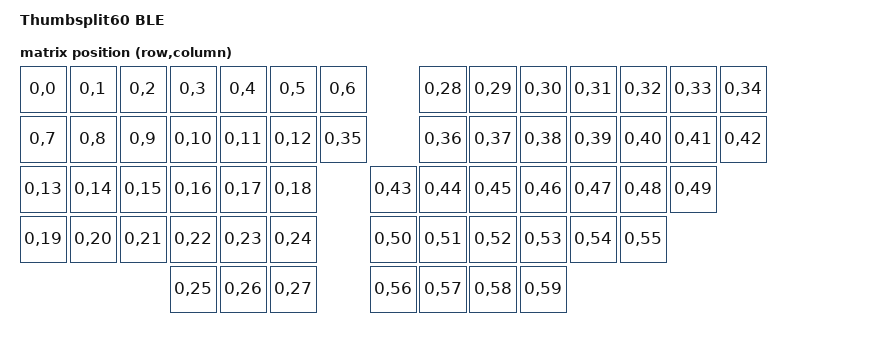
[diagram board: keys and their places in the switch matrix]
/*
 * Copyright (c) 2024 Kazuyuki Arimatsu
 * SPDX-License-Identifier: MIT
 */

/dts-v1/;
#include <nordic/nrf52840_qiaa.dtsi>
#include <dt-bindings/led/led.h>
#include <dt-bindings/zmk/matrix_transform.h>

/ {
	model = "Thumbsplit60 BLE";

	chosen {
		zephyr,code-partition = &code_partition;
		zephyr,sram = &sram0;
		zephyr,flash = &flash0;
		zmk,kscan = &default_kscan;
        zmk,battery = &vbatt;
		zmk,matrix_transform = &default_transform;
	};

	vbatt: vbatt {
		compatible = "zmk,battery-voltage-divider";
		output-ohms = <330000>;
		full-ohms = <(330000 + 330000)>;
	};

	default_transform: keymap_transform_0 {
		compatible = "zmk,matrix-transform";
		columns = <14>;
		rows = <5>;
		map = <
RC(0,0)  RC(0,1)  RC(0,2)  RC(0,3)  RC(0,4)  RC(0,5)  RC(0,6)             RC(0,28) RC(0,29) RC(0,30) RC(0,31) RC(0,32) RC(0,33) RC(0,34)
RC(0,7)  RC(0,8)  RC(0,9)  RC(0,10) RC(0,11) RC(0,12)            RC(0,35) RC(0,36) RC(0,37) RC(0,38) RC(0,39) RC(0,40) RC(0,41) RC(0,42)
RC(0,13) RC(0,14) RC(0,15) RC(0,16) RC(0,17) RC(0,18)            RC(0,43) RC(0,44) RC(0,45) RC(0,46) RC(0,47) RC(0,48) RC(0,49)
RC(0,19) RC(0,20) RC(0,21) RC(0,22) RC(0,23) RC(0,24)            RC(0,50) RC(0,51) RC(0,52) RC(0,53) RC(0,54) RC(0,55)
                           RC(0,25) RC(0,26) RC(0,27)            RC(0,56) RC(0,57) RC(0,58) RC(0,59)
		>;
	};
};

&adc {
	status = "okay";
};

&gpiote {
	status = "okay";
};

&gpio0 {
	status = "okay";
};

&gpio1 {
	status = "okay";
};

&i2c0 {
	status = "disabled";
};

&uart0 {
	status = "disabled";
};

zephyr_udc0: &usbd {
    status = "okay";
};

&flash0 {
	/*
	 * For more information, see:
	 * http://docs.zephyrproject.org/latest/devices/dts/flash_partitions.html
	 */
	partitions {
		compatible = "fixed-partitions";
		#address-cells = <1>;
		#size-cells = <1>;

		sd_partition: partition@0 {
			label = "softdevice";
			reg = <0x00000000 0x00026000>;
		};
		code_partition: partition@26000 {
			label = "code_partition";
			reg = <0x00026000 0x000c6000>;
		};

		/*
		 * The flash starting at 0x000ec000 and ending at
		 * 0x000f3fff is reserved for use by the application.
		 */

		/*
		 * Storage partition will be used by FCB/LittleFS/NVS
		 * if enabled.
		 */
		storage_partition: partition@ec000 {
			label = "storage";
			reg = <0x000ec000 0x00008000>;
		};

		boot_partition: partition@f4000 {
			label = "adafruit_boot";
			reg = <0x000f4000 0x0000c000>;
		};
	};
};
